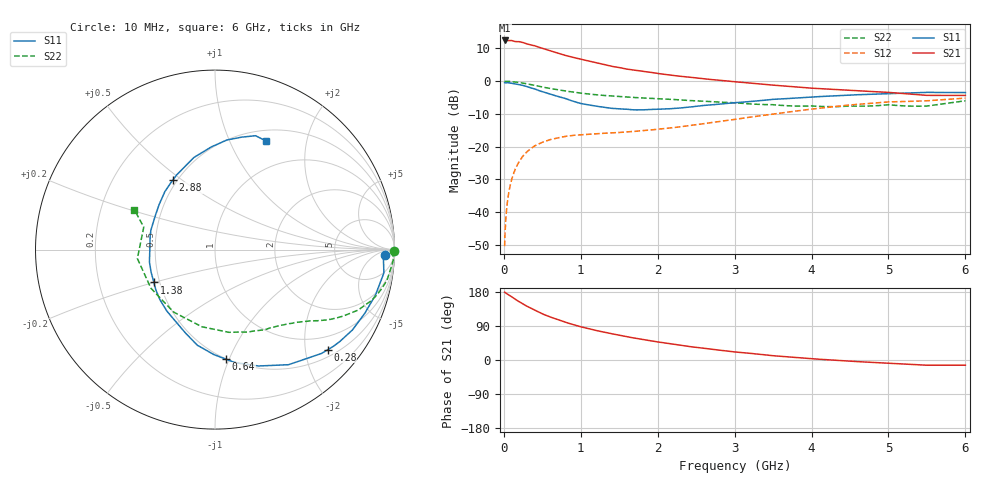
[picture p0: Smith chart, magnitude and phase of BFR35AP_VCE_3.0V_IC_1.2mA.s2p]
! Infineon Technologies  Discrete & RF Semiconductors
! BFR35AP
! VCE =  3.0 V,  IC =  1.2 mA
! Common Emitter S-Parameters:  Nov 2015
# GHz  S  MA  R  50
!  f  S11  S21  S12  S22
! GHz  MAG  ANG  MAG  ANG  MAG  ANG  MAG  ANG
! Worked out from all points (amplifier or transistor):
!   210 points, 10 MHz to 6 GHz, reference 50 ohm
!   highest |S21| = 12.4 dB at 10 MHz (marker M1)
!   |S21| within 3 dB of that: start of sweep to 582.8 MHz
!   unconditionally stable (mu >= 1): 1.35 GHz to 4.323 GHz; 5.077 GHz to end of sweep
!   at 185 MHz: K = 0.17, MSG = 18.6 dB, |S12| = -25.2 dB
!   at 1.52 GHz: K = 1.08, MAG = 8.1 dB, |S12| = -15.7 dB
!   at 6 GHz: K = 1.03, MAG = -0.6 dB, |S12| = -5.2 dB
!   S11 on the Smith chart (normalised r, x): 10 MHz: 29, -16; 280 MHz: 0.66, -2.48; 640 MHz: 0.50, -0.98; 1.38 GHz: 0.46, -0.20; 2.88 GHz: 0.47, +0.46; 6 GHz: 0.63, +1.38
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0.01  0.9483 -1.7  4.187 179.0  0.003 90.8  0.9997 -0.6
0.02  0.94 -3.2  4.084 177.3  0.006 89.2  0.9915 -1.3
0.035  0.9442 -5.6  4.124 175.3  0.0107 86.0  0.993 -2.4
0.085  0.9335 -13.4  4.171 169.0  0.0262 81.5  0.9863 -5.8
0.1  0.9292 -15.8  4.179 167.1  0.0308 80.8  0.9832 -6.8
0.2  0.887 -30.3  4.009 153.7  0.0591 71.6  0.9546 -13.1
0.28  0.8397 -41.6  3.779 144.2  0.0787 64.9  0.9194 -17.6
0.4  0.7606 -57.5  3.477 131.8  0.1023 57.1  0.8645 -23.0
0.44  0.7292 -62.1  3.348 127.9  0.1077 54.7  0.844 -24.4
0.5  0.6918 -69.6  3.185 121.6  0.1161 51.5  0.8144 -26.7
0.64  0.6142 -84.2  2.823 110.9  0.1308 45.7  0.7589 -30.6
0.8  0.5425 -100.3  2.474 99.6  0.1431 40.8  0.7066 -34.0
1.02  0.4508 -120.7  2.138 86.7  0.1514 37.1  0.6517 -37.7
1.2  0.4156 -137.3  1.906 77.8  0.1567 35.5  0.6194 -40.7
1.38  0.3865 -151.7  1.706 70.2  0.1611 35.2  0.5955 -43.5
1.7  0.3637 -177.3  1.476 57.8  0.1705 36.5  0.5616 -48.5
2.02  0.3735 161.8  1.301 47.1  0.1854 38.9  0.5353 -54.3
2.88  0.4532 121.2  1.011 24.2  0.2489 42.4  0.473 -76.5
3.1  0.477 114.1  0.956 19.5  0.2706 41.7  0.4571 -84.1
4.1  0.5802 90.2  0.769 2.0  0.3848 33.7  0.4109 -128.5
5.1  0.649 75.4  0.659 -9.6  0.4841 18.7  0.4256 -178.0
6  0.6687 64.7  0.605 -13.8  0.5501 7.1  0.5009 153.7
